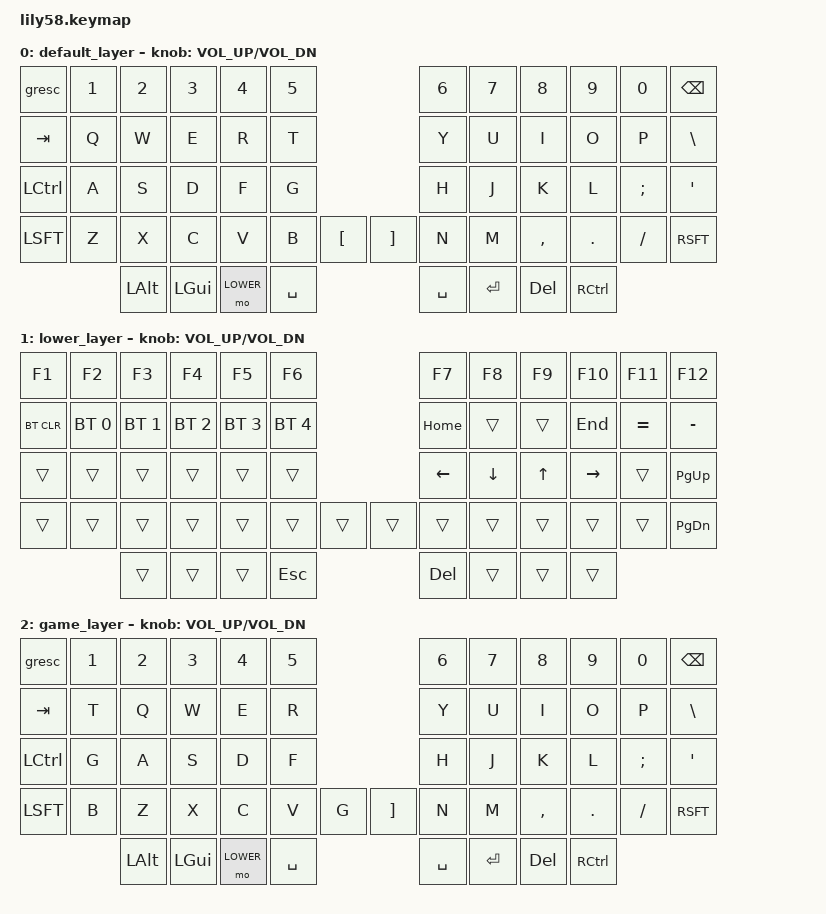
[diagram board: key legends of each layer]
#include <behaviors.dtsi>
#include <dt-bindings/zmk/keys.h>
#include <dt-bindings/zmk/bt.h>
#include <dt-bindings/zmk/ext_power.h>

#define DEFAULT 0
#define LOWER 1
#define GAME 2

/ {
	keymap {
		compatible = "zmk,keymap";

		default_layer {
// ------------------------------------------------------------------------------------------------------------
// | ESC/~ |  1  |  2  |  3   |  4   |  5   |                   |  6   |  7    |  8    |  9   |   0   | BSPV  |
// |  TAB  |  Q  |  W  |  E   |  R   |  T   |                   |  Y   |  U    |  I    |  O   |   P   |  "\"  |
// |  CTRL |  A  |  S  |  D   |  F   |  G   |                   |  H   |  J    |  K    |  L   |   ;   |   "   |
// | SHIFT |  Z  |  X  |  C   |  V   |  B   |   "["  |  |  "]"  |  N   |  M    |  ,    |  .   |   /   | SHIFT |
//                     | ALT  | GUI  | LOWER|  SPACE |  | SPACE | RET  | DEL   | CTRL  |
			bindings = <
&gresc   &kp N1    &kp N2    &kp N3    &kp N4    &kp N5                       &kp N6    &kp N7    &kp N8    &kp N9    &kp N0    &kp BKSP
&kp TAB  &kp Q     &kp W     &kp E     &kp R     &kp T                        &kp Y     &kp U     &kp I     &kp O     &kp P     &kp BSLH
&kp LCTL &kp A     &kp S     &kp D     &kp F     &kp G                        &kp H     &kp J     &kp K     &kp L     &kp SCLN  &kp QUOT
&kp LSFT &kp Z     &kp X     &kp C     &kp V     &kp B   &kp LBKT  &kp RBKT   &kp N     &kp M     &kp CMMA  &kp DOT   &kp FSLH  &kp RSFT
                   &kp LALT  &kp LGUI  &mo LOWER &kp SPC                      &kp SPC   &kp RET   &kp DEL   &kp RCTL
			>;

			sensor-bindings = <&inc_dec_kp C_VOL_UP C_VOL_DN>;
		};

		lower_layer {
// ------------------------------------------------------------------------------------------------------------
// |  F1   |  F2 |  F3 |  F4  |  F5  |  F6  |                   |  F7  |  F8   |  F9   |  F10 |  F11  |  F12  |
// | BTCLR | BT1 | BT2 |  BT3 |  BT4 |  BT5 |                   | HOME |       |       |  END |   =   |   -   |
// |       |     |     |      |      |      |                   | LEFT | DOWN  |   UP  | RIGHT|       | PG_UP |
// |       |     |     |      |      |      |        |  |       |      |       |       |      |       | PG_DN |
//                     |      |      |      |   ESC  |  | DELETE|      |       |       |
			bindings = <
&kp F1     &kp F2       &kp F3       &kp F4       &kp F5       &kp F6                       &kp F7    &kp F8    &kp F9    &kp F10   &kp F11   &kp F12
&bt BT_CLR &bt BT_SEL 0 &bt BT_SEL 1 &bt BT_SEL 2 &bt BT_SEL 3 &bt BT_SEL 4                 &kp HOME  &trans    &trans    &kp END   &kp EQUAL &kp MINUS
&trans     &trans       &trans       &trans       &trans       &trans                       &kp LEFT  &kp DOWN  &kp UP    &kp RIGHT &trans    &kp PG_UP 
&trans     &trans       &trans       &trans       &trans       &trans    &trans   &trans    &trans    &trans    &trans    &trans    &trans    &kp PG_DN
                        &trans       &trans       &trans       &kp ESC                      &kp DEL   &trans    &trans    &trans
			>;

			sensor-bindings = <&inc_dec_kp C_VOL_UP C_VOL_DN>;
		};
		
		game_layer {
// ------------------------------------------------------------------------------------------------------------
// | ESC/~ |  1  |  2  |  3   |  4   |  5   |                   |  6   |  7    |  8    |  9   |   0   | BSPV  |
// |  TAB  |  T  |  Q  |  W   |  E   |  R   |                   |  Y   |  U    |  I    |  O   |   P   |  "\"  |
// |  CTRL |  G  |  A  |  S   |  D   |  F   |                   |  H   |  J    |  K    |  L   |   ;   |   "   |
// | SHIFT |  B  |  Z  |  X   |  C   |  V   |    G   |  |  "]"  |  N   |  M    |  ,    |  .   |   /   | SHIFT |
//                     | ALT  | GUI  | LOWER|  SPACE |  | SPACE | RET  | DEL   | CTRL  |
			bindings = <
&gresc   &kp N1    &kp N2    &kp N3    &kp N4    &kp N5                       &kp N6    &kp N7    &kp N8    &kp N9    &kp N0    &kp BKSP
&kp TAB  &kp T     &kp Q     &kp W     &kp E     &kp R                        &kp Y     &kp U     &kp I     &kp O     &kp P     &kp BSLH
&kp LCTL &kp G     &kp A     &kp S     &kp D     &kp F                        &kp H     &kp J     &kp K     &kp L     &kp SCLN  &kp QUOT
&kp LSFT &kp B     &kp Z     &kp X     &kp C     &kp V   &kp G     &kp RBKT   &kp N     &kp M     &kp CMMA  &kp DOT   &kp FSLH  &kp RSFT
                           &kp LALT  &kp LGUI  &mo LOWER &kp SPC   &kp SPC   &kp RET   &kp DEL   &kp RCTL
			>;

			sensor-bindings = <&inc_dec_kp C_VOL_UP C_VOL_DN>;
		};

	};
};
